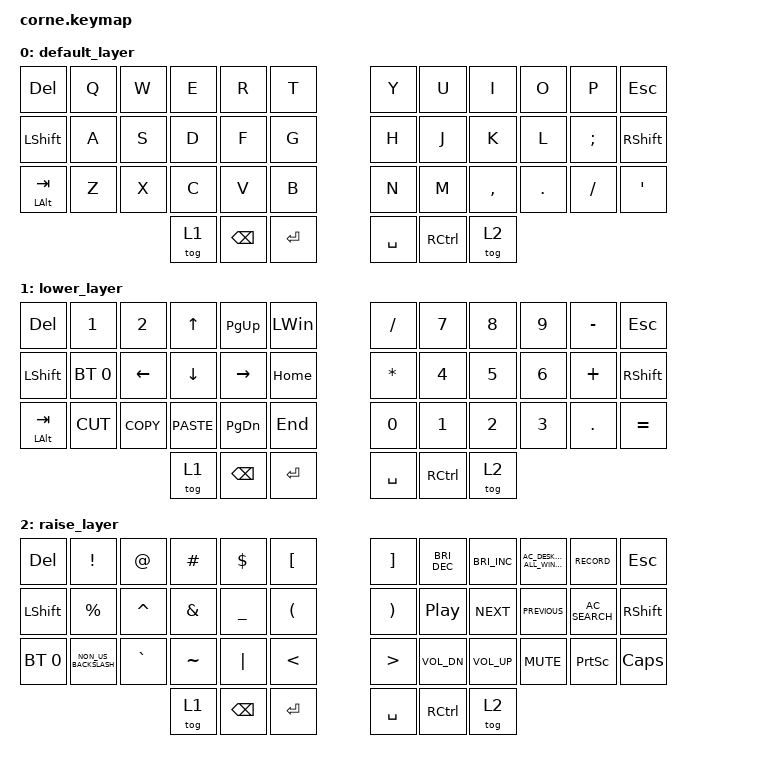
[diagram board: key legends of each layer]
/*
 * Copyright (c) 2020 The ZMK Contributors
 *
 * SPDX-License-Identifier: MIT
 */

#include <behaviors.dtsi>
#include <dt-bindings/zmk/bt.h>
#include <dt-bindings/zmk/keys.h>

/ {
    behaviors {
        new_behavior: new_behavior {
            compatible = "zmk,behavior-mod-morph";
            label = "NEW_BEHAVIOR";
            bindings = <&none>, <&kp LS(RS(LEFT_SHIFT))>;

            #binding-cells = <0>;
            mods = <(MOD_LSFT|MOD_RSFT)>;
            keep-mods = <(MOD_LSFT|MOD_RSFT)>;
        };
    };

    keymap {
        compatible = "zmk,keymap";

        default_layer {
            // -----------------------------------------------------------------------------------------
            // |  TAB |  Q  |  W  |  E  |  R  |  T  |   |  Y  |  U   |  I  |  O  |  P  | BKSP |
            // | CTRL |  A  |  S  |  D  |  F  |  G  |   |  H  |  J   |  K  |  L  |  ;  |  '   |
            // | SHFT |  Z  |  X  |  C  |  V  |  B  |   |  N  |  M   |  ,  |  .  |  /  | ESC  |
            //                    | GUI | LWR | SPC |   | ENT | RSE  | ALT |

            bindings = <
&kp DEL           &kp Q  &kp W  &kp E   &kp R          &kp T        &kp Y      &kp U      &kp I      &kp O       &kp P     &kp ESC
&kp LEFT_SHIFT    &kp A  &kp S  &kp D   &kp F          &kp G        &kp H      &kp J      &kp K      &kp L       &kp SEMI  &kp RSHIFT
&mt LEFT_ALT TAB  &kp Z  &kp X  &kp C   &kp V          &kp B        &kp N      &kp M      &kp COMMA  &kp PERIOD  &kp FSLH  &kp SQT
                                &tog 1  &kp BACKSPACE  &kp ENTER    &kp SPACE  &kp RCTRL  &tog 2
            >;
        };

        lower_layer {
            // -----------------------------------------------------------------------------------------
            // |  TAB |  1  |  2  |  3  |  4  |  5  |   |  6  |  7  |  8  |  9  |  0  | BKSP |
            // | BTCLR| BT1 | BT2 | BT3 | BT4 | BT5 |   | LFT | DWN |  UP | RGT |     |      |
            // | SHFT |     |     |     |     |     |   |     |     |     |     |     |      |
            //                    | GUI |     | SPC |   | ENT |     | ALT |

            bindings = <
&kp DEL           &kp N1        &kp N2          &kp UP       &kp PAGE_UP    &kp LEFT_WIN    &kp SLASH     &kp N7        &kp N8        &kp N9        &kp MINUS  &kp ESC
&kp LEFT_SHIFT    &bt BT_SEL 0  &kp LEFT_ARROW  &kp DOWN     &kp RIGHT      &kp HOME        &kp ASTERISK  &kp NUMBER_4  &kp NUMBER_5  &kp N6        &kp PLUS   &kp RIGHT_SHIFT
&mt LEFT_ALT TAB  &kp K_CUT     &kp K_COPY      &kp K_PASTE  &kp PAGE_DOWN  &kp END         &kp N0        &kp NUMBER_1  &kp NUMBER_2  &kp NUMBER_3  &kp DOT    &kp EQUAL
                                                &tog 1       &kp BACKSPACE  &kp ENTER       &kp SPACE     &kp RCTRL     &tog 2
            >;
        };

        raise_layer {
            // -----------------------------------------------------------------------------------------
            // |  TAB |  !  |  @  |  #  |  $  |  %  |   |  ^  |  &  |  *  |  (  |  )  | BKSP |
            // | CTRL |     |     |     |     |     |   |  -  |  =  |  [  |  ]  |  \  |  `   |
            // | SHFT |     |     |     |     |     |   |  _  |  +  |  {  |  }  | "|" |  ~   |
            //                    | GUI |     | SPC |   | ENT |     | ALT |

            bindings = <
&kp DEL         &kp EXCL              &kp AT     &kp HASH       &kp DLLR       &kp LEFT_BRACKET        &kp RIGHT_BRACKET      &kp C_BRI_DEC     &kp C_BRI_INC  &kp C_AC_DESKTOP_SHOW_ALL_WINDOWS  &kp C_RECORD     &kp ESCAPE
&kp LEFT_SHIFT  &kp PRCNT             &kp CARET  &kp AMPERSAND  &kp UNDER      &kp LEFT_PARENTHESIS    &kp RIGHT_PARENTHESIS  &kp C_PLAY_PAUSE  &kp K_NEXT     &kp K_PREVIOUS                     &kp C_AC_SEARCH  &kp RIGHT_SHIFT
&bt BT_SEL 0    &kp NON_US_BACKSLASH  &kp GRAVE  &kp TILDE      &kp PIPE       &kp LESS_THAN           &kp GREATER_THAN       &kp C_VOL_DN      &kp C_VOL_UP   &kp K_MUTE                         &kp PRINTSCREEN  &kp CAPS
                                                 &tog 1         &kp BACKSPACE  &kp ENTER               &kp SPACE              &kp RCTRL         &tog 2
            >;
        };
    };
};
